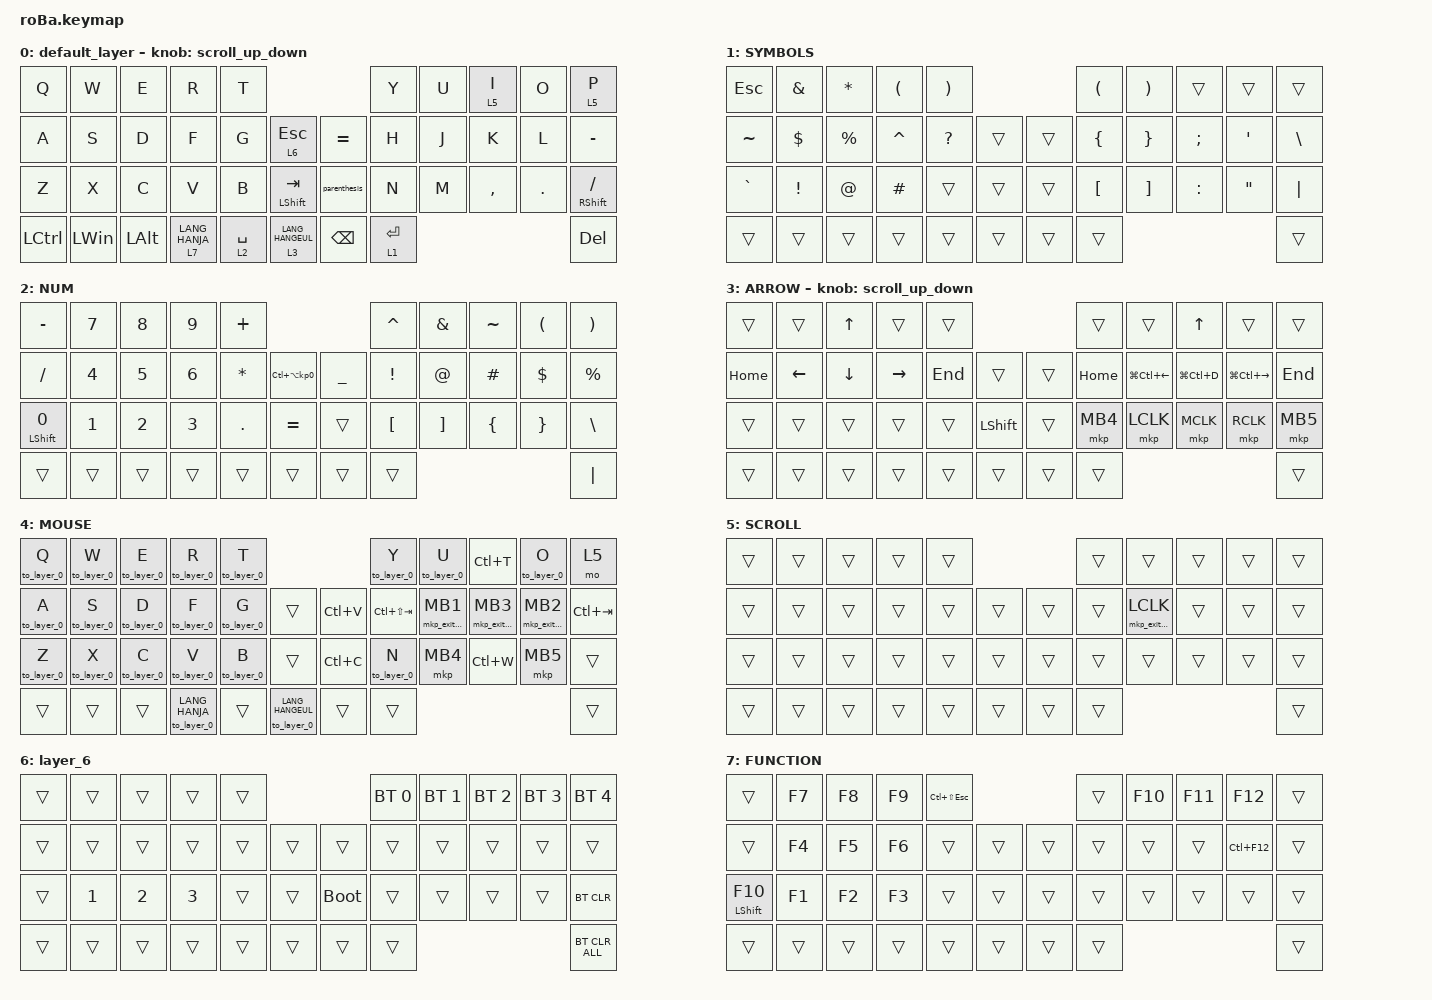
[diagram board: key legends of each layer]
#include <behaviors.dtsi>
#include <dt-bindings/zmk/bt.h>
#include <dt-bindings/zmk/keys.h>
#include <dt-bindings/zmk/pointing.h>

#define ZMK_POINTING_DEFAULT_SCRL_VAL 100

&mt {
    flavor = "hold-preferred";
    quick-tap-ms = <0>;
};

&sl { release-after-ms = <250>; };

/ {

    macros {
        to_layer_0: to_layer_0 {
            compatible = "zmk,behavior-macro-one-param";
            #binding-cells = <1>;
            bindings = <&to 0 &macro_param_1to1 &kp MACRO_PLACEHOLDER>;
            label = "TO_LAYER_0";
        };

        mkp_exit_AML: mkp_exit_AML {
            compatible = "zmk,behavior-macro-one-param";
            #binding-cells = <1>;
            bindings =
                <&macro_press>,
                <&macro_param_1to1 &mkp MACRO_PLACEHOLDER>,
                <&macro_pause_for_release>,
                <&macro_release>,
                <&macro_param_1to1 &mkp MACRO_PLACEHOLDER>,
                <&macro_tap>,
                <&sl 4>;

            label = "MKP_EXIT_AML";
        };

        parenthesis: parenthesis {
            compatible = "zmk,behavior-macro";
            #binding-cells = <0>;
            bindings = <&kp LANG_HANJA &kp LEFT_PARENTHESIS &kp RIGHT_PARENTHESIS &kp LEFT_ARROW>;
            label = "parenthesis";
        };
    };

    behaviors {
        scroll_up_down: behavior_sensor_rotate_mouse_wheel_up_down {
            compatible = "zmk,behavior-sensor-rotate";
            #sensor-binding-cells = <0>;
            bindings = <&msc SCRL_DOWN>, <&msc SCRL_UP>;

            // 追加: スクロールのタップ時間を設定 (20ms)

            tap-ms = <20>;
        };

        multi_tap_tab_bspc: behavior_multi_tap {
            label = "MT_TAB_BSPC";
            #binding-cells = <0>;
            bindings = <&kp TAB>, <&kp BSPC>;

            max-taps = <2>;
            max-tap-interrupt-ms = <250>;
        };
    };

    keymap {
        compatible = "zmk,keymap";

        default_layer {
            bindings = <
&kp Q             &kp W         &kp E         &kp R             &kp T                                               &kp Y        &kp U  &lt 5 I    &kp O    &lt 5 P
&kp A             &kp S         &kp D         &kp F             &kp G        &lt 6 ESCAPE            &kp EQUAL      &kp H        &kp J  &kp K      &kp L    &kp MINUS
&kp Z             &kp X         &kp C         &kp V             &kp B        &mt LEFT_SHIFT TAB      &parenthesis   &kp N        &kp M  &kp COMMA  &kp DOT  &mt RIGHT_SHIFT SLASH
&kp LCTRL         &kp LEFT_WIN  &kp LEFT_ALT  &lt 7 LANG_HANJA  &lt 2 SPACE  &lt 3 LANG_HANGEUL      &kp BACKSPACE  &lt 1 ENTER                             &kp DEL
            >;

            sensor-bindings = <&scroll_up_down>;
        };

        SYMBOLS {
            bindings = <
&kp ESCAPE  &kp AMPERSAND    &kp ASTERISK  &kp LEFT_PARENTHESIS  &kp RIGHT_PARENTHESIS                      &kp LEFT_PARENTHESIS  &kp RIGHT_PARENTHESIS  &trans         &trans             &trans
&kp TILDE   &kp DOLLAR       &kp PERCENT   &kp CARET             &kp QUESTION           &trans      &trans  &kp LEFT_BRACE        &kp RIGHT_BRACE        &kp SEMICOLON  &kp SINGLE_QUOTE   &kp BACKSLASH
&kp GRAVE   &kp EXCLAMATION  &kp AT_SIGN   &kp HASH              &trans                 &trans      &trans  &kp LEFT_BRACKET      &kp RIGHT_BRACKET      &kp COLON      &kp DOUBLE_QUOTES  &kp PIPE
&trans      &trans           &trans        &trans                &trans                 &trans      &trans  &trans                                                                         &trans
            >;
        };

        NUM {
            bindings = <
&kp MINUS               &kp NUMBER_7  &kp NUMBER_8  &kp NUMBER_9  &kp PLUS                                              &kp CARET         &kp AMPERSAND      &kp TILDE       &kp LEFT_PARENTHESIS  &kp RIGHT_PARENTHESIS
&kp SLASH               &kp NUMBER_4  &kp NUMBER_5  &kp NUMBER_6  &kp ASTERISK  &kp LC(LA(KP_NUMBER_0))      &kp UNDERSCORE  &kp EXCLAMATION   &kp AT_SIGN        &kp HASH        &kp DOLLAR            &kp PERCENT
&mt LEFT_SHIFT NUMBER_0  &kp NUMBER_1  &kp NUMBER_2  &kp NUMBER_3  &kp PERIOD    &kp EQUAL                    &trans          &kp LEFT_BRACKET  &kp RIGHT_BRACKET  &kp LEFT_BRACE  &kp RIGHT_BRACE       &kp BACKSLASH
&trans                  &trans        &trans        &trans        &trans        &trans                       &trans          &trans                                                                     &kp PIPE
            >;
        };

        ARROW {
            bindings = <
&trans  &trans  &kp UP_ARROW  &trans  &trans                      &trans  &trans  &kp UP_ARROW  &trans  &trans
&kp HOME  &kp LEFT_ARROW  &kp DOWN_ARROW  &kp RIGHT_ARROW  &kp END  &trans      &trans  &kp HOME  &kp LG(LC(LEFT_ARROW))  &kp LG(LC(D))  &kp LG(LC(RIGHT_ARROW))  &kp END
&trans  &trans  &trans  &trans  &trans  &kp LEFT_SHIFT      &trans  &mkp MB4  &mkp LCLK  &mkp MCLK  &mkp RCLK  &mkp MB5
&trans  &trans  &trans  &trans  &trans  &trans      &trans  &trans                          &trans
            >;

            sensor-bindings = <&scroll_up_down>;
        };

        MOUSE {
            bindings = <
&to_layer_0 Q  &to_layer_0 W  &to_layer_0 E  &to_layer_0 R           &to_layer_0 T                                           &to_layer_0 Y    &to_layer_0 U      &kp LC(T)          &to_layer_0 O      &mo 5
&to_layer_0 A  &to_layer_0 S  &to_layer_0 D  &to_layer_0 F           &to_layer_0 G  &trans                        &kp LC(V)  &kp LC(LS(TAB))  &mkp_exit_AML MB1  &mkp_exit_AML MB3  &mkp_exit_AML MB2  &kp LC(TAB)
&to_layer_0 Z  &to_layer_0 X  &to_layer_0 C  &to_layer_0 V           &to_layer_0 B  &trans                        &kp LC(C)  &to_layer_0 N    &mkp MB4           &kp LC(W)          &mkp MB5           &trans
&trans         &trans         &trans         &to_layer_0 LANG_HANJA  &trans         &to_layer_0 LANG_HANGEUL      &trans     &trans                                                                    &trans
            >;
        };

        SCROLL {
            bindings = <
&trans  &trans  &trans  &trans  &trans                      &trans  &trans              &trans  &trans  &trans
&trans  &trans  &trans  &trans  &trans  &trans      &trans  &trans  &mkp_exit_AML LCLK  &trans  &trans  &trans
&trans  &trans  &trans  &trans  &trans  &trans      &trans  &trans  &trans              &trans  &trans  &trans
&trans  &trans  &trans  &trans  &trans  &trans      &trans  &trans                                      &trans
            >;
        };

        layer_6 {
            bindings = <
&trans  &trans        &trans        &trans        &trans                           &bt BT_SEL 0  &bt BT_SEL 1  &bt BT_SEL 2  &bt BT_SEL 3  &bt BT_SEL 4
&trans  &trans        &trans        &trans        &trans  &trans      &trans       &trans        &trans        &trans        &trans        &trans
&trans  &kp NUMBER_1  &kp NUMBER_2  &kp NUMBER_3  &trans  &trans      &bootloader  &trans        &trans        &trans        &trans        &bt BT_CLR
&trans  &trans        &trans        &trans        &trans  &trans      &trans       &trans                                                  &bt BT_CLR_ALL
            >;
        };

        FUNCTION {
            bindings = <
&trans                &kp F7  &kp F8  &kp F9  &kp LC(LS(ESCAPE))                        &trans  &kp F10  &kp F11  &kp F12  &trans
&trans                &kp F4  &kp F5  &kp F6  &trans  &trans      &trans      &trans  &trans  &trans  &kp LC(F12)  &trans
&mt LEFT_SHIFT F10     &kp F1  &kp F2  &kp F3  &trans  &trans      &trans      &trans  &trans  &trans  &trans  &trans
&trans                &trans  &trans  &trans  &trans  &trans      &trans      &trans                          &trans
            >;
        };
    };
};
